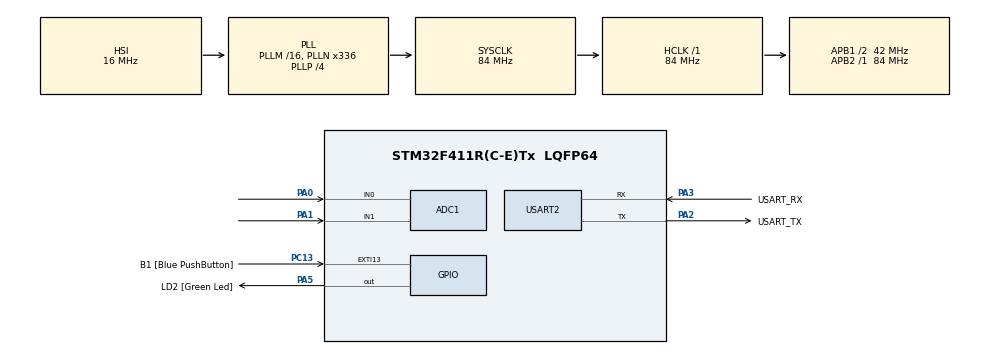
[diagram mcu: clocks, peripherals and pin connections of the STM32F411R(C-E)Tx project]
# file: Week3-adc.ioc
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ADC1.Channel-0\#ChannelRegularConversion=ADC_CHANNEL_0
ADC1.NbrOfConversionFlag=1
ADC1.Rank-0\#ChannelRegularConversion=1
ADC1.SamplingTime-0\#ChannelRegularConversion=ADC_SAMPLETIME_3CYCLES
ADC1.master=1
Mcu.Family=STM32F4
Mcu.Name=STM32F411R(C-E)Tx
Mcu.Package=LQFP64
NVIC.PriorityGroup=NVIC_PRIORITYGROUP_0
PA0-WKUP.Signal=ADCx_IN0
PA1.Signal=ADCx_IN1
PA13.GPIO_Label=TMS
PA13.Mode=Serial_Wire
PA13.Signal=SYS_JTMS-SWDIO
PA14.GPIO_Label=TCK
PA14.Mode=Serial_Wire
PA14.Signal=SYS_JTCK-SWCLK
PA2.GPIO_Label=USART_TX
PA2.Mode=Asynchronous
PA2.Signal=USART2_TX
PA3.GPIO_Label=USART_RX
PA3.Mode=Asynchronous
PA3.Signal=USART2_RX
PA5.GPIO_Label=LD2 [Green Led]
PA5.Signal=GPIO_Output
PB3.GPIO_Label=SWO
PB3.Signal=SYS_JTDO-SWO
PC13-ANTI_TAMP.GPIO_Label=B1 [Blue PushButton]
PC13-ANTI_TAMP.GPIO_ModeDefaultEXTI=GPIO_MODE_IT_FALLING
PC13-ANTI_TAMP.Signal=GPXTI13
PC14-OSC32_IN.Mode=LSE-External-Oscillator
PC14-OSC32_IN.Signal=RCC_OSC32_IN
PC15-OSC32_OUT.Mode=LSE-External-Oscillator
PC15-OSC32_OUT.Signal=RCC_OSC32_OUT
PH0\ -\ OSC_IN.Mode=HSE-External-Clock-Source
PH0\ -\ OSC_IN.Signal=RCC_OSC_IN
PH1\ -\ OSC_OUT.Mode=HSE-External-Clock-Source
PH1\ -\ OSC_OUT.Signal=RCC_OSC_OUT
ProjectManager.HeapSize=0x200
ProjectManager.StackSize=0x400
ProjectManager.TargetToolchain=STM32CubeIDE
RCC.48MHZClocksFreq_Value=84000000
RCC.AHBFreq_Value=84000000
RCC.APB1CLKDivider=RCC_HCLK_DIV2
RCC.APB1Freq_Value=42000000
RCC.APB1TimFreq_Value=84000000
RCC.APB2Freq_Value=84000000
RCC.APB2TimFreq_Value=84000000
RCC.CortexFreq_Value=84000000
RCC.FLatency-AdvancedSettings=FLASH_LATENCY_2
RCC.HCLKFreq_Value=84000000
RCC.HSE_VALUE=8000000
RCC.HSI_VALUE=16000000
RCC.PLLN=336
RCC.PLLP=RCC_PLLP_DIV4
RCC.SYSCLKFreq_VALUE=84000000
RCC.SYSCLKSource=RCC_SYSCLKSOURCE_PLLCLK
RCC.VCOOutputFreq_Value=336000000
SH.ADCx_IN0.0=ADC1_IN0,IN0
SH.ADCx_IN1.0=ADC1_IN1,IN1
USART2.VirtualMode=VM_ASYNC
VP_ADC1_TempSens_Input.Mode=IN-TempSens
board=NUCLEO-F411RE

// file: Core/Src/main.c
/* USER CODE BEGIN Header */
/**
  ******************************************************************************
  * @file           : main.c
  * @brief          : Main program body
  ******************************************************************************
  * @attention
  *
  * <h2><center>&copy; Copyright (c) 2021 STMicroelectronics.
  * All rights reserved.</center></h2>
  *
  * This software component is licensed by ST under BSD 3-Clause license,
  * the "License"; You may not use this file except in compliance with the
  * License. You may obtain a copy of the License at:
  *                        opensource.org/licenses/BSD-3-Clause
  *
  ******************************************************************************
  */
/* USER CODE END Header */
#include "main.h"

ADC_HandleTypeDef hadc1;

UART_HandleTypeDef huart2;

/* USER CODE BEGIN PV */
float ADCOutputConverted = 0;
GPIO_PinState SwitchState1[2]={0} ;
uint8_t ADCMode = 0 ;
uint32_t timestamp =0 ;
typedef struct
{
	ADC_ChannelConfTypeDef Config;
	uint16_t Data;
}ADCStructure;

ADCStructure ADCChannel[3]={0};
/* USER CODE END PV */

void SystemClock_Config(void);
static void MX_GPIO_Init(void);
static void MX_USART2_UART_Init(void);
static void MX_ADC1_Init(void);
/* USER CODE BEGIN PFP */
void ADCPollingMethodInit();
void ADCPollingMethodUpdate(); //read adc from 3 source (in0,in1,intemp)
/* USER CODE END PFP */

int main(void)
{

  /* MCU Configuration--------------------------------------------------------*/

  /* Reset of all peripherals, Initializes the Flash interface and the Systick. */
  HAL_Init();

  /* Configure the system clock */
  SystemClock_Config();

  /* Initialize all configured peripherals */
  MX_GPIO_Init();
  MX_USART2_UART_Init();
  MX_ADC1_Init();
  /* USER CODE BEGIN 2 */
ADCPollingMethodInit();

  /* USER CODE END 2 */

  /* Infinite loop */
  /* USER CODE BEGIN WHILE */
  while (1)
  {

	  //read analog
	  ADCPollingMethodUpdate();
	  if (HAL_GetTick()-timestamp>=50)
	  {
		  timestamp=HAL_GetTick();
	  SwitchState1[0]= HAL_GPIO_ReadPin(GPIOA, GPIO_PIN_9);
		  if (SwitchState1[0]== 0 && SwitchState1[1]==1)
		  {
			  	ADCMode=ADCMode^1;
		  }
	  }
	  switch(ADCMode)
	  {
	  case 1:
		  ADCOutputConverted = (((ADCChannel[2].Data*3.3/4096.0)-0.76)/0.0025)+25;
		  break;
	  case 0:
		  ADCOutputConverted = (ADCChannel[0].Data*3.3)/4096.0*1000.0;
		  break;
	  }
	  SwitchState1[1]=SwitchState1[0];
    /* USER CODE END WHILE */

  }
}

void SystemClock_Config(void)
{
  RCC_OscInitTypeDef RCC_OscInitStruct = {0};
  RCC_ClkInitTypeDef RCC_ClkInitStruct = {0};

  /** Configure the main internal regulator output voltage
  */
  __HAL_RCC_PWR_CLK_ENABLE();
  __HAL_PWR_VOLTAGESCALING_CONFIG(PWR_REGULATOR_VOLTAGE_SCALE1);
  /** Initializes the RCC Oscillators according to the specified parameters
  * in the RCC_OscInitTypeDef structure.
  */
  RCC_OscInitStruct.OscillatorType = RCC_OSCILLATORTYPE_HSI;
  RCC_OscInitStruct.HSIState = RCC_HSI_ON;
  RCC_OscInitStruct.HSICalibrationValue = RCC_HSICALIBRATION_DEFAULT;
  RCC_OscInitStruct.PLL.PLLState = RCC_PLL_ON;
  RCC_OscInitStruct.PLL.PLLSource = RCC_PLLSOURCE_HSI;
  RCC_OscInitStruct.PLL.PLLM = 16;
  RCC_OscInitStruct.PLL.PLLN = 336;
  RCC_OscInitStruct.PLL.PLLP = RCC_PLLP_DIV4;
  RCC_OscInitStruct.PLL.PLLQ = 4;
  if (HAL_RCC_OscConfig(&RCC_OscInitStruct) != HAL_OK)
  {
    Error_Handler();
  }
  /** Initializes the CPU, AHB and APB buses clocks
  */
  RCC_ClkInitStruct.ClockType = RCC_CLOCKTYPE_HCLK|RCC_CLOCKTYPE_SYSCLK
                              |RCC_CLOCKTYPE_PCLK1|RCC_CLOCKTYPE_PCLK2;
  RCC_ClkInitStruct.SYSCLKSource = RCC_SYSCLKSOURCE_PLLCLK;
  RCC_ClkInitStruct.AHBCLKDivider = RCC_SYSCLK_DIV1;
  RCC_ClkInitStruct.APB1CLKDivider = RCC_HCLK_DIV2;
  RCC_ClkInitStruct.APB2CLKDivider = RCC_HCLK_DIV1;

  if (HAL_RCC_ClockConfig(&RCC_ClkInitStruct, FLASH_LATENCY_2) != HAL_OK)
  {
    Error_Handler();
  }
}

static void MX_ADC1_Init(void)
{

  ADC_ChannelConfTypeDef sConfig = {0};

  /** Configure the global features of the ADC (Clock, Resolution, Data Alignment and number of conversion)
  */
  hadc1.Instance = ADC1;
  hadc1.Init.ClockPrescaler = ADC_CLOCK_SYNC_PCLK_DIV4;
  hadc1.Init.Resolution = ADC_RESOLUTION_12B;
  hadc1.Init.ScanConvMode = DISABLE;
  hadc1.Init.ContinuousConvMode = DISABLE;
  hadc1.Init.DiscontinuousConvMode = DISABLE;
  hadc1.Init.ExternalTrigConvEdge = ADC_EXTERNALTRIGCONVEDGE_NONE;
  hadc1.Init.ExternalTrigConv = ADC_SOFTWARE_START;
  hadc1.Init.DataAlign = ADC_DATAALIGN_RIGHT;
  hadc1.Init.NbrOfConversion = 1;
  hadc1.Init.DMAContinuousRequests = DISABLE;
  hadc1.Init.EOCSelection = ADC_EOC_SINGLE_CONV;
  if (HAL_ADC_Init(&hadc1) != HAL_OK)
  {
    Error_Handler();
  }
  /** Configure for the selected ADC regular channel its corresponding rank in the sequencer and its sample time.
  */
  sConfig.Channel = ADC_CHANNEL_0;
  sConfig.Rank = 1;
  sConfig.SamplingTime = ADC_SAMPLETIME_3CYCLES;
  if (HAL_ADC_ConfigChannel(&hadc1, &sConfig) != HAL_OK)
  {
    Error_Handler();
  }

}

static void MX_USART2_UART_Init(void)
{

  huart2.Instance = USART2;
  huart2.Init.BaudRate = 115200;
  huart2.Init.WordLength = UART_WORDLENGTH_8B;
  huart2.Init.StopBits = UART_STOPBITS_1;
  huart2.Init.Parity = UART_PARITY_NONE;
  huart2.Init.Mode = UART_MODE_TX_RX;
  huart2.Init.HwFlowCtl = UART_HWCONTROL_NONE;
  huart2.Init.OverSampling = UART_OVERSAMPLING_16;
  if (HAL_UART_Init(&huart2) != HAL_OK)
  {
    Error_Handler();
  }

}

static void MX_GPIO_Init(void)
{
  GPIO_InitTypeDef GPIO_InitStruct = {0};

  /* GPIO Ports Clock Enable */
  __HAL_RCC_GPIOC_CLK_ENABLE();
  __HAL_RCC_GPIOH_CLK_ENABLE();
  __HAL_RCC_GPIOA_CLK_ENABLE();
  __HAL_RCC_GPIOB_CLK_ENABLE();

  /*Configure GPIO pin Output Level */
  HAL_GPIO_WritePin(LD2_GPIO_Port, LD2_Pin, GPIO_PIN_RESET);

  /*Configure GPIO pin : B1_Pin */
  GPIO_InitStruct.Pin = B1_Pin;
  GPIO_InitStruct.Mode = GPIO_MODE_IT_FALLING;
  GPIO_InitStruct.Pull = GPIO_NOPULL;
  HAL_GPIO_Init(B1_GPIO_Port, &GPIO_InitStruct);

  /*Configure GPIO pin : LD2_Pin */
  GPIO_InitStruct.Pin = LD2_Pin;
  GPIO_InitStruct.Mode = GPIO_MODE_OUTPUT_PP;
  GPIO_InitStruct.Pull = GPIO_NOPULL;
  GPIO_InitStruct.Speed = GPIO_SPEED_FREQ_LOW;
  HAL_GPIO_Init(LD2_GPIO_Port, &GPIO_InitStruct);

}

/* USER CODE BEGIN 4 */
void ADCPollingMethodInit()
{
	ADCChannel[0].Config.Channel=ADC_CHANNEL_0;
	ADCChannel[0].Config.Rank =1;
	ADCChannel[0].Config.SamplingTime=ADC_SAMPLETIME_3CYCLES;

	ADCChannel[1].Config.Channel=ADC_CHANNEL_1;
	ADCChannel[1].Config.Rank =1;
	ADCChannel[1].Config.SamplingTime=ADC_SAMPLETIME_3CYCLES;

	ADCChannel[2].Config.Channel=ADC_CHANNEL_TEMPSENSOR;
	ADCChannel[2].Config.Rank =1;
	ADCChannel[2].Config.SamplingTime=ADC_SAMPLETIME_3CYCLES;

}

void ADCPollingMethodUpdate()
{
	for (int i=0;i<3;i++)
	{
		//select channel
		HAL_ADC_ConfigChannel(&hadc1, &ADCChannel[i].Config);

		// ADC sampling convert
		HAL_ADC_Start(&hadc1);
		//wait adc
		if (HAL_ADC_PollForConversion(&hadc1, 10)==HAL_OK)
		{
			//get value
			ADCChannel[i].Data = HAL_ADC_GetValue(&hadc1);
		}

		//stop
		HAL_ADC_Stop(&hadc1);
	}

}
/* USER CODE END 4 */

void Error_Handler(void)
{
  __disable_irq();
  while (1)
  {
  }
}

/************************ (C) COPYRIGHT STMicroelectronics *****END OF FILE****/
